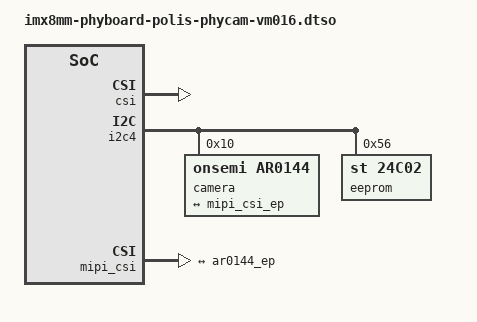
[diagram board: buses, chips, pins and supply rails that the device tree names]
// SPDX-License-Identifier: (GPL-2.0+ OR MIT)
/*
 * Copyright 2023 Ideas on Board Oy
 *
 * Device tree overlay for the PHYTEC VM-016 camera module connected to an
 * i.MX8MM Polis development kit.
 */

/dts-v1/;
/plugin/;

&{/} {
	ar0144_clk: ar0144-clk {
		compatible = "fixed-clock";
		#clock-cells = <0>;
		clock-frequency = <27000000>;
	};
};

&csi {
	status = "okay";
};

&i2c4 {
	status = "okay";

	camera@10 {
		compatible = "onsemi,ar0144";
		reg = <0x10>;

		clocks = <&ar0144_clk>;

		port {
			ar0144_ep: endpoint {
				remote-endpoint = <&mipi_csi_ep>;
				data-lanes = <1 2>;
				clock-noncontinuous = <1>;
				link-frequencies = /bits/ 64 <222750000>;
				onsemi,t-hs-prep = <1>;
				onsemi,t-clk-post = <9>;
			};
		};
	};

	eeprom@56 {
		compatible = "st,24c02", "atmel,24c02";
		reg = <0x56>;
		page-size = <16>;
	};
};

&mipi_csi {
	status = "okay";

	ports {
		port@0 {
			mipi_csi_ep: endpoint {
				remote-endpoint = <&ar0144_ep>;
				data-lanes = <1 2>;
			};
		};
	};
};
